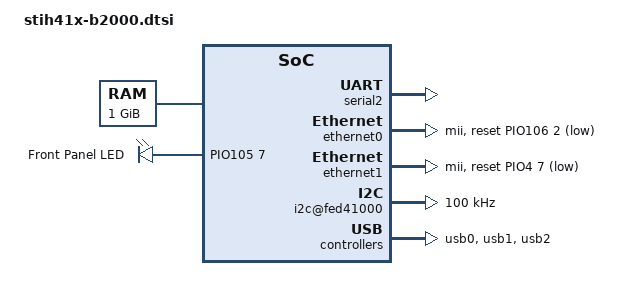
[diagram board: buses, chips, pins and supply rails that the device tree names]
/*
 * Copyright (C) 2013 STMicroelectronics (R&D) Limited.
 * Author: Srinivas Kandagatla <srinivas.kandagatla@st.com>
 *
 * This program is free software; you can redistribute it and/or modify
 * it under the terms of the GNU General Public License version 2 as
 * publishhed by the Free Software Foundation.
 */
#include <dt-bindings/input/input.h>
/ {

	memory{
		device_type = "memory";
		reg = <0x60000000 0x40000000>;
	};

	chosen {
		bootargs = "console=ttyAS0,115200";
		linux,stdout-path = &serial2;
	};

	aliases {
		ttyAS0 = &serial2;
		ethernet0 = &ethernet0;
		ethernet1 = &ethernet1;
		usb0 = &usb0;
		usb1 = &usb1;
		usb2 = &usb2;
	};

	soc {
		serial2: serial@fed32000 {
			status = "okay";
		};

		leds {
			compatible	= "gpio-leds";
			fp_led {
				#gpio-cells = <1>;
				label	= "Front Panel LED";
				gpios	= <&PIO105 7 0>;
				linux,default-trigger	= "heartbeat";
			};
		};

		ethernet0: dwmac@fe810000 {
			status 		= "okay";
			st,tx-retime-src	= "txclk";

			phy-mode		= "mii";

			snps,reset-gpio 	= <&PIO106 2 0>;
			snps,reset-active-low;
			snps,reset-delays-us 	= <0 10000 10000>;
		};

		ethernet1: dwmac@fef08000 {
			status 		= "okay";
			st,tx-retime-src	= "txclk";

			phy-mode		= "mii";

			snps,reset-gpio 	= <&PIO4 7 0>;
			snps,reset-active-low;
			snps,reset-delays-us 	= <0 10000 10000>;
		};

		lpm:stm-lpm@fe400000 {
			status = "okay";
			gpios = <&PIO4 3 0>;
			lmi,retention-gpio = <&PIO4 4 0>;
		};

		/* HDMI Tx I2C */
		i2c@fed41000 {
			/* HDMI V1.3a supports Standard mode only */
			clock-frequency = <100000>;
			st,i2c-min-scl-pulse-width-us = <0>;
			st,i2c-min-sda-pulse-width-us = <1>;

			status = "okay";
		};

		/* On the reference boards, the mmc can be available if use the
		   b2048 daughter board exclusively plugged on CN22 (often used
		   for b2032 daughter board (PHY device).
		   The b2048 can be available with eMMC or SD/MMC slot so
		   "non-removable" field should be used as consequence of the
		   selected setup.

		mmc0: sdhci@fe81e000 {
			status	= "okay";
			non-removable;
		};
		*/

		usb0: usb@fe100000 {
			status = "okay";
		};

		usb1: usb@fe200000 {
			status = "okay";
		};

		usb2: usb@fe300000 {
			status = "okay";
		};

		keyscan: keyscan@fe4b0000 {
			keypad,num-rows = <4>;
			keypad,num-columns = <4>;
			st,debounce_us = <5000>;
			linux,keymap = < /* in0	in1	in2	in3 */
				KEY_F13 KEY_F9  KEY_F5 KEY_F1		/* out0 */
				KEY_F14 KEY_F10 KEY_F6 KEY_F2		/* out1 */
				KEY_F15 KEY_F11 KEY_F7 KEY_F3		/* out2 */
				KEY_F16 KEY_F12 KEY_F8 KEY_F4 >;	/* out3 */
		};
	};
};
